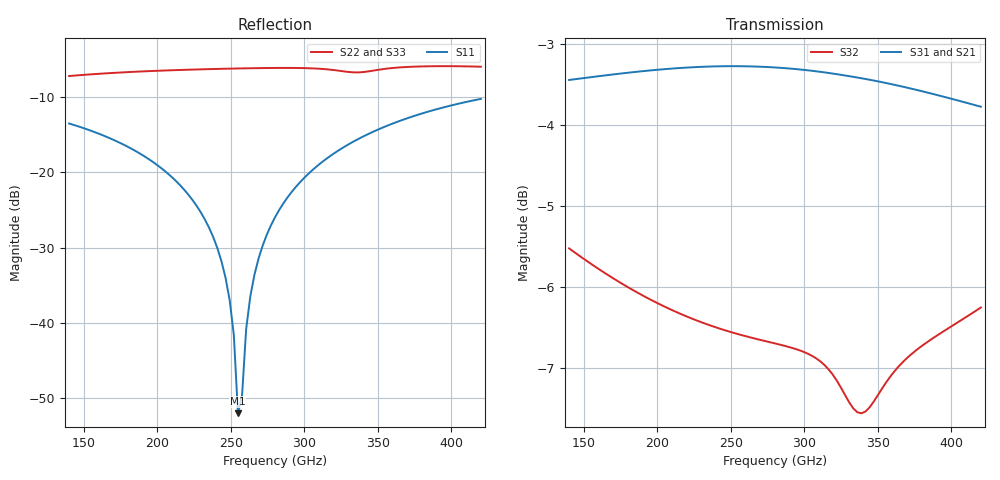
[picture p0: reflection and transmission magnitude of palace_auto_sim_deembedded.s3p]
! Created with skrf 1.11.0 (http://scikit-rf.org).
# GHz S DB R 50.0
!freq dBS11 angS11 dBS12 angS12 dBS13 angS13
! dBS21 angS21 dBS22 angS22 dBS23 angS23
! dBS31 angS31 dBS32 angS32 dBS33 angS33
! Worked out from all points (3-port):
!   101 points, 140 GHz to 420 GHz, reference 50 ohm
!   strongest paths, dB at 140 GHz, 210 GHz, 280 GHz, 350 GHz, 420 GHz:
!     S31: -3.4, -3.3, -3.3, -3.5, -3.8
!     S21: -3.4, -3.3, -3.3, -3.5, -3.8
!     S32: -5.5, -6.3, -6.7, -7.3, -6.2
!   lowest |S11| = -52.0 dB at 254.8 GHz (marker M1), VSWR 1.01, Z = 49.9 + j0.223 ohm
!   |S11| at or under -10 dB: start of sweep to end of sweep
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140  -13.54 145.2  -3.45 -41.2  -3.44 -41.1
     -3.45 -41.2  -7.25 53.7  -5.52 -98.7
     -3.44 -41.1  -5.52 -98.7  -7.27 53.7
229.6  -25.34 122.3  -3.29 -69.2  -3.28 -69.2
       -3.29 -69.2  -6.36 15.3  -6.43 -153.2
       -3.28 -69.2  -6.43 -153.2  -6.39 15.2
246.4  -34.02 118.0  -3.29 -74.6  -3.27 -74.6
       -3.29 -74.6  -6.28 9.3  -6.53 -163.2
       -3.27 -74.6  -6.53 -163.2  -6.31 9.3
252  -41.58 116.8  -3.29 -76.4  -3.27 -76.4
     -3.29 -76.4  -6.25 7.4  -6.56 -166.6
     -3.27 -76.4  -6.56 -166.6  -6.29 7.3
254.8  -51.97 117.5  -3.29 -77.3  -3.27 -77.3
       -3.29 -77.3  -6.24 6.4  -6.58 -168.2
       -3.27 -77.3  -6.58 -168.2  -6.28 6.4
257.6  -49.61 -66.7  -3.29 -78.2  -3.27 -78.2
       -3.29 -78.2  -6.23 5.5  -6.59 -169.9
       -3.27 -78.2  -6.59 -169.9  -6.27 5.4
263.2  -36.48 -67.1  -3.29 -80.0  -3.27 -80.1
       -3.29 -80.0  -6.21 3.5  -6.62 -173.3
       -3.27 -80.1  -6.62 -173.3  -6.25 3.5
280  -25.98 -71.3  -3.31 -85.5  -3.29 -85.5
     -3.31 -85.5  -6.17 -2.2  -6.69 176.6
     -3.29 -85.5  -6.69 176.6  -6.21 -2.3
330.4  -16.26 -84.5  -3.42 -101.7  -3.39 -101.8
       -3.42 -101.7  -6.71 -18.2  -7.42 146.4
       -3.39 -101.8  -7.42 146.4  -6.76 -18.4
420  -10.27 -107.2  -3.80 -129.6  -3.77 -129.8
     -3.80 -129.6  -6.01 -49.0  -6.25 97.9
     -3.77 -129.8  -6.25 97.9  -6.07 -49.1
